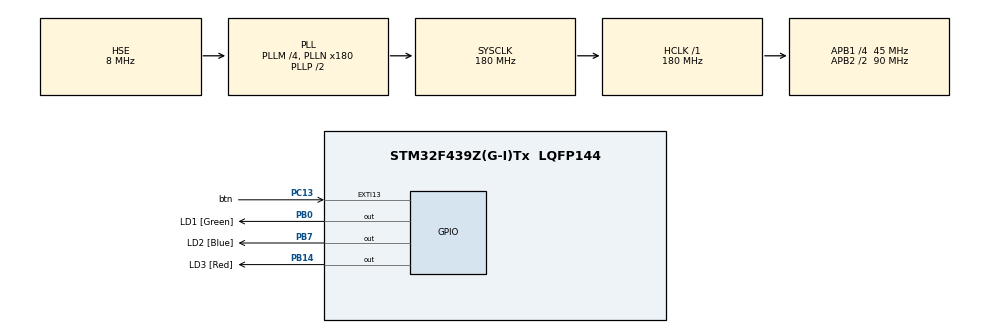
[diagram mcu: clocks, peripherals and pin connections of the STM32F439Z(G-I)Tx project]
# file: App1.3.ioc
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Mcu.Family=STM32F4
Mcu.Name=STM32F439Z(G-I)Tx
Mcu.Package=LQFP144
NVIC.EXTI15_10_IRQn=true\:0\:0\:false\:false\:true\:true\:true\:true
NVIC.PriorityGroup=NVIC_PRIORITYGROUP_4
PB0.GPIO_Label=LD1 [Green]
PB0.Signal=GPIO_Output
PB14.GPIO_Label=LD3 [Red]
PB14.Signal=GPIO_Output
PB7.GPIO_Label=LD2 [Blue]
PB7.Signal=GPIO_Output
PC13.GPIO_Label=btn
PC13.GPIO_ModeDefaultEXTI=GPIO_MODE_IT_RISING
PC13.Signal=GPXTI13
PH0/OSC_IN.Mode=HSE-External-Oscillator
PH0/OSC_IN.Signal=RCC_OSC_IN
PH1/OSC_OUT.Mode=HSE-External-Oscillator
PH1/OSC_OUT.Signal=RCC_OSC_OUT
ProjectManager.HeapSize=0x200
ProjectManager.StackSize=0x400
ProjectManager.TargetToolchain=STM32CubeIDE
RCC.48MHZClocksFreq_Value=51428571.428571425
RCC.AHBFreq_Value=180000000
RCC.APB1CLKDivider=RCC_HCLK_DIV4
RCC.APB1Freq_Value=45000000
RCC.APB1TimFreq_Value=90000000
RCC.APB2CLKDivider=RCC_HCLK_DIV2
RCC.APB2Freq_Value=90000000
RCC.APB2TimFreq_Value=180000000
RCC.CortexFreq_Value=180000000
RCC.HCLKFreq_Value=180000000
RCC.HSE_VALUE=8000000
RCC.HSI_VALUE=16000000
RCC.PLLM=4
RCC.PLLMUL=RCC_PLL_MUL9
RCC.PLLN=180
RCC.PLLQ=7
RCC.PLLSourceVirtual=RCC_PLLSOURCE_HSE
RCC.PRESCALERUSB=RCC_USBCLKSOURCE_PLL_DIV1_5
RCC.SYSCLKFreq_VALUE=180000000
RCC.SYSCLKSource=RCC_SYSCLKSOURCE_PLLCLK
RCC.SYSCLKSourceVirtual=RCC_SYSCLKSOURCE_PLLCLK
RCC.USBFreq_Value=48000000
RCC.VCOOutputFreq_Value=360000000
board=NUCLEO-F439ZI

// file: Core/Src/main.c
/* USER CODE BEGIN Header */
/**
  ******************************************************************************
  * @file           : main.c
  * @brief          : Main program body
  ******************************************************************************
  * @attention
  *
  * Copyright (c) 2025 STMicroelectronics.
  * All rights reserved.
  *
  * This software is licensed under terms that can be found in the LICENSE file
  * in the root directory of this software component.
  * If no LICENSE file comes with this software, it is provided AS-IS.
  *
  ******************************************************************************
  */
/* USER CODE END Header */
#include "main.h"

/* USER CODE BEGIN Includes */
#include <stdbool.h>
/* USER CODE END Includes */

/* USER CODE BEGIN PV */
#define n_leds 2 //cantidad de leds - 1
#define demora1 100
#define demora2 150
#define demora3 300
#define demora4 600

uint16_t Leds [10] = {LD1_Pin, LD2_Pin, LD3_Pin}; //Array de leds
uint8_t contador;
uint8_t pulso = 0;
bool estado  = 0;
/* USER CODE END PV */

void SystemClock_Config(void);
static void MX_GPIO_Init(void);

int main(void)
{

  /* MCU Configuration--------------------------------------------------------*/

  /* Reset of all peripherals, Initializes the Flash interface and the Systick. */
  HAL_Init();

  /* Configure the system clock */
  SystemClock_Config();

  /* Initialize all configured peripherals */
  MX_GPIO_Init();

  /* Infinite loop */
  while (1)
  {

    /* USER CODE BEGIN 3 */
	  switch (pulso) {
		case 0:
			  for (contador = 0; contador <= n_leds ; contador++) {
				  HAL_GPIO_WritePin(GPIOB, Leds[n_leds - contador], GPIO_PIN_SET);
				  HAL_Delay(demora2);
				  HAL_GPIO_WritePin(GPIOB, Leds[n_leds - contador], GPIO_PIN_RESET);
				  HAL_Delay(demora2);
			}
			break;
		case 1:
				HAL_GPIO_TogglePin(GPIOB, LD1_Pin | LD2_Pin | LD3_Pin);
				HAL_Delay(demora3);
			break;
		case 2: //ver si puedo agregar un timer
				HAL_GPIO_TogglePin(GPIOB, LD1_Pin);
				HAL_Delay(demora1);
				HAL_GPIO_TogglePin(GPIOB, LD2_Pin);
				HAL_Delay(demora3);
				HAL_GPIO_TogglePin(GPIOB, LD3_Pin);
				HAL_Delay(demora4);
			break;
		case 3:
				HAL_GPIO_WritePin(GPIOB, LD1_Pin | LD3_Pin, GPIO_PIN_SET);
				HAL_Delay(demora2);
				HAL_GPIO_WritePin(GPIOB, LD2_Pin, GPIO_PIN_RESET);
				HAL_Delay(demora2);
				HAL_GPIO_WritePin(GPIOB, LD1_Pin | LD3_Pin, GPIO_PIN_RESET);
				HAL_Delay(demora2);
				HAL_GPIO_WritePin(GPIOB, LD2_Pin, GPIO_PIN_SET);
				HAL_Delay(demora2);
			break;
		default:

			break;
	}
  }
  /* USER CODE END 3 */
}

void SystemClock_Config(void)
{
  RCC_OscInitTypeDef RCC_OscInitStruct = {0};
  RCC_ClkInitTypeDef RCC_ClkInitStruct = {0};

  /** Configure the main internal regulator output voltage
  */
  __HAL_RCC_PWR_CLK_ENABLE();
  __HAL_PWR_VOLTAGESCALING_CONFIG(PWR_REGULATOR_VOLTAGE_SCALE1);

  /** Initializes the RCC Oscillators according to the specified parameters
  * in the RCC_OscInitTypeDef structure.
  */
  RCC_OscInitStruct.OscillatorType = RCC_OSCILLATORTYPE_HSE;
  RCC_OscInitStruct.HSEState = RCC_HSE_ON;
  RCC_OscInitStruct.PLL.PLLState = RCC_PLL_ON;
  RCC_OscInitStruct.PLL.PLLSource = RCC_PLLSOURCE_HSE;
  RCC_OscInitStruct.PLL.PLLM = 4;
  RCC_OscInitStruct.PLL.PLLN = 180;
  RCC_OscInitStruct.PLL.PLLP = RCC_PLLP_DIV2;
  RCC_OscInitStruct.PLL.PLLQ = 7;
  if (HAL_RCC_OscConfig(&RCC_OscInitStruct) != HAL_OK)
  {
    Error_Handler();
  }

  /** Activate the Over-Drive mode
  */
  if (HAL_PWREx_EnableOverDrive() != HAL_OK)
  {
    Error_Handler();
  }

  /** Initializes the CPU, AHB and APB buses clocks
  */
  RCC_ClkInitStruct.ClockType = RCC_CLOCKTYPE_HCLK|RCC_CLOCKTYPE_SYSCLK
                              |RCC_CLOCKTYPE_PCLK1|RCC_CLOCKTYPE_PCLK2;
  RCC_ClkInitStruct.SYSCLKSource = RCC_SYSCLKSOURCE_PLLCLK;
  RCC_ClkInitStruct.AHBCLKDivider = RCC_SYSCLK_DIV1;
  RCC_ClkInitStruct.APB1CLKDivider = RCC_HCLK_DIV4;
  RCC_ClkInitStruct.APB2CLKDivider = RCC_HCLK_DIV2;

  if (HAL_RCC_ClockConfig(&RCC_ClkInitStruct, FLASH_LATENCY_5) != HAL_OK)
  {
    Error_Handler();
  }
}

static void MX_GPIO_Init(void)
{
  GPIO_InitTypeDef GPIO_InitStruct = {0};

  /* GPIO Ports Clock Enable */
  __HAL_RCC_GPIOC_CLK_ENABLE();
  __HAL_RCC_GPIOH_CLK_ENABLE();
  __HAL_RCC_GPIOB_CLK_ENABLE();

  /*Configure GPIO pin Output Level */
  HAL_GPIO_WritePin(GPIOB, LD1_Pin|LD3_Pin|LD2_Pin, GPIO_PIN_RESET);

  /*Configure GPIO pin : btn_Pin */
  GPIO_InitStruct.Pin = btn_Pin;
  GPIO_InitStruct.Mode = GPIO_MODE_IT_RISING;
  GPIO_InitStruct.Pull = GPIO_NOPULL;
  HAL_GPIO_Init(btn_GPIO_Port, &GPIO_InitStruct);

  /*Configure GPIO pins : LD1_Pin LD3_Pin LD2_Pin */
  GPIO_InitStruct.Pin = LD1_Pin|LD3_Pin|LD2_Pin;
  GPIO_InitStruct.Mode = GPIO_MODE_OUTPUT_PP;
  GPIO_InitStruct.Pull = GPIO_NOPULL;
  GPIO_InitStruct.Speed = GPIO_SPEED_FREQ_LOW;
  HAL_GPIO_Init(GPIOB, &GPIO_InitStruct);

  /* EXTI interrupt init*/
  HAL_NVIC_SetPriority(EXTI15_10_IRQn, 0, 0);
  HAL_NVIC_EnableIRQ(EXTI15_10_IRQn);

}

/* USER CODE BEGIN 4 */
void HAL_GPIO_EXTI_Callback(uint16_t GPIO_Pin){
	if(GPIO_Pin == btn_Pin){
		HAL_GPIO_WritePin(GPIOB, LD1_Pin|LD2_Pin|LD3_Pin, GPIO_PIN_RESET);
		pulso++;
			if(pulso > 3) pulso = 0;
	}
}
/* USER CODE END 4 */

void Error_Handler(void)
{
  __disable_irq();
  while (1)
  {
  }
}
